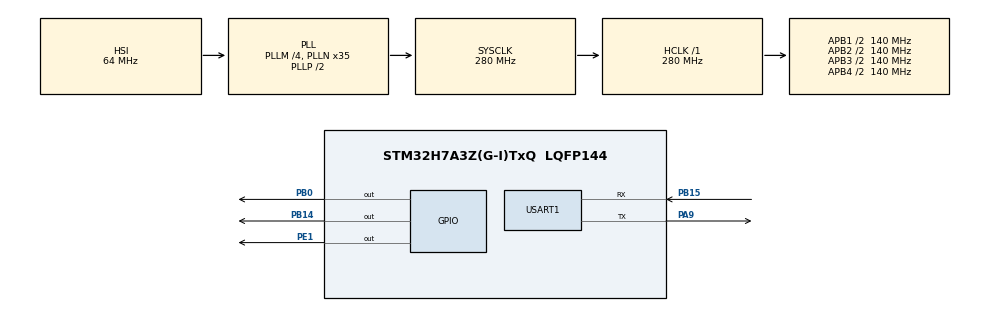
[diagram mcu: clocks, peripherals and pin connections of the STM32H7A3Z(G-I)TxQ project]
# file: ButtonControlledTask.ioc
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CORTEX_M7.default_mode_Activation=1
FREERTOS.Tasks01=defaultTask,0,128,StartDefaultTask,Default,NULL,Dynamic,NULL,NULL
Mcu.Family=STM32H7
Mcu.Name=STM32H7A3Z(G-I)TxQ
Mcu.Package=LQFP144
NUCLEO-H7A3ZI-Q.BUTTON=1
NUCLEO-H7A3ZI-Q.LD1=true
NUCLEO-H7A3ZI-Q.LD2=true
NUCLEO-H7A3ZI-Q.LD3=true
NUCLEO-H7A3ZI-Q.VCP=true
NVIC.EXTI15_10_IRQn=true\:5\:0\:false\:false\:true\:true\:false\:true\:true
NVIC.PriorityGroup=NVIC_PRIORITYGROUP_4
NVIC.TIM1_UP_IRQn=true\:15\:0\:false\:false\:true\:false\:false\:true\:true
NVIC.TimeBase=TIM1_UP_IRQn
NVIC.TimeBaseIP=TIM1
PA9.GPIO_Speed=GPIO_SPEED_FREQ_VERY_HIGH
PA9.Mode=Asynchronous
PA9.Signal=USART1_TX
PB0.Signal=GPIO_Output
PB14.Signal=GPIO_Output
PB15.GPIO_Speed=GPIO_SPEED_FREQ_VERY_HIGH
PB15.Mode=Asynchronous
PB15.Signal=USART1_RX
PC14-OSC32_IN.GPIO_Label=OSC32_IN
PC14-OSC32_IN.Signal=RCC_OSC32_IN
PC15-OSC32_OUT.GPIO_Label=OSC32_OUT
PC15-OSC32_OUT.Signal=RCC_OSC32_OUT
PD8.Signal=USART3_TX
PD9.Signal=USART3_RX
PE1.Signal=GPIO_Output
PH0-OSC_IN.GPIO_Label=PH0-MCU
PH0-OSC_IN.Signal=RCC_OSC_IN
PH1-OSC_OUT.GPIO_Label=PH1-MCU
PH1-OSC_OUT.Signal=RCC_OSC_OUT
ProjectManager.HeapSize=0x200
ProjectManager.StackSize=0x400
ProjectManager.TargetToolchain=Makefile
RCC.ADCFreq_Value=129000000
RCC.APB1Freq_Value=140000000
RCC.APB2Freq_Value=140000000
RCC.APB3Freq_Value=140000000
RCC.APB4Freq_Value=140000000
RCC.CDPPRE=RCC_APB3_DIV2
RCC.CDPPRE1=RCC_APB1_DIV2
RCC.CDPPRE2=RCC_APB2_DIV2
RCC.CortexFreq_Value=280000000
RCC.DIVM1=4
RCC.DIVM3=1
RCC.DIVN1=35
RCC.DIVN3=24
RCC.DIVQ1=4
RCC.HCLKFreq_Value=280000000
RCC.HSE_VALUE=8000000
RCC.PLLFRACN=0
RCC.SRDPPRE=RCC_APB4_DIV2
RCC.SYSCLKFreq_VALUE=280000000
RCC.SYSCLKSource=RCC_SYSCLKSOURCE_PLLCLK
RCC.SupplySource=PWR_DIRECT_SMPS_SUPPLY
RCC.USBCLockSelection=RCC_USBCLKSOURCE_HSI48
RCC.USBFreq_Value=48000000
USART1.VirtualMode-Asynchronous=VM_ASYNC
VP_FREERTOS_VS_CMSIS_V1.Mode=CMSIS_V1
VP_MEMORYMAP_VS_MEMORYMAP.Mode=CurAppReg
VP_NUCLEO-H7A3ZI-Q_VS_BSP_COMMON.Mode=COMMON
VP_SYS_VS_tim1.Mode=TIM1
board=NUCLEO-H7A3ZI-Q

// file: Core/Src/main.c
/* USER CODE BEGIN Header */
/**
  ******************************************************************************
  * @file           : main.c
  * @brief          : Main program body
  ******************************************************************************
  * @attention
  *
  * Copyright (c) 2025 STMicroelectronics.
  * All rights reserved.
  *
  * This software is licensed under terms that can be found in the LICENSE file
  * in the root directory of this software component.
  * If no LICENSE file comes with this software, it is provided AS-IS.
  *
  ******************************************************************************
  */
/* USER CODE END Header */
#include "main.h"
#include "cmsis_os.h"
#include "freertos_task_handles.h"
#include "portmacro.h"
#include "projdefs.h"
#include "stm32h7xx_nucleo.h"
#include "usart.h"
#include "gpio.h"

/* USER CODE BEGIN Includes */
#include "elicode.h"
/* USER CODE END Includes */

COM_InitTypeDef BspCOMInit;

void SystemClock_Config(void);
static void MPU_Config(void);
void MX_FREERTOS_Init(void);

/* USER CODE BEGIN 0 */
void BSP_PB_Callback(Button_TypeDef Button) {
  // if priority of handling task is higher than the priority of the currently
  // running task, then this will get set to pdTRUE
  BaseType_t xHigherPriorityTaskWoken = pdFALSE;
  vTaskNotifyGiveFromISR(Task2Handle, &xHigherPriorityTaskWoken);
  portYIELD_FROM_ISR(xHigherPriorityTaskWoken);
}

/* USER CODE END 0 */

int main(void)
{

  /* MPU Configuration--------------------------------------------------------*/
  MPU_Config();

  /* MCU Configuration--------------------------------------------------------*/

  /* Reset of all peripherals, Initializes the Flash interface and the Systick. */
  HAL_Init();

  /* Configure the system clock */
  SystemClock_Config();

  /* Initialize all configured peripherals */
  MX_GPIO_Init();
  MX_USART1_UART_Init();
  /* USER CODE BEGIN 2 */

  myprintf("Starting FreeRTOS Program...\r\n");
  /* USER CODE END 2 */

  /* Call init function for freertos objects (in cmsis_os2.c) */
  MX_FREERTOS_Init();

  /* Initialize leds */
  BSP_LED_Init(LED_GREEN);
  BSP_LED_Init(LED_YELLOW);
  BSP_LED_Init(LED_RED);

  /* Initialize USER push-button, will be used to trigger an interrupt each time it's pressed.*/
  BSP_PB_Init(BUTTON_USER, BUTTON_MODE_EXTI);

  /* Initialize COM1 port (115200, 8 bits (7-bit data + 1 stop bit), no parity */
  BspCOMInit.BaudRate   = 115200;
  BspCOMInit.WordLength = COM_WORDLENGTH_8B;
  BspCOMInit.StopBits   = COM_STOPBITS_1;
  BspCOMInit.Parity     = COM_PARITY_NONE;
  BspCOMInit.HwFlowCtl  = COM_HWCONTROL_NONE;
  if (BSP_COM_Init(COM1, &BspCOMInit) != BSP_ERROR_NONE)
  {
    Error_Handler();
  }

  /* Start scheduler */
  osKernelStart();

  /* We should never get here as control is now taken by the scheduler */

  /* Infinite loop */
  while (1)
  {

  }
}

void SystemClock_Config(void)
{
  RCC_OscInitTypeDef RCC_OscInitStruct = {0};
  RCC_ClkInitTypeDef RCC_ClkInitStruct = {0};

  /*AXI clock gating */
  RCC->CKGAENR = 0xE003FFFF;

  /** Supply configuration update enable
  */
  HAL_PWREx_ConfigSupply(PWR_DIRECT_SMPS_SUPPLY);

  /** Configure the main internal regulator output voltage
  */
  __HAL_PWR_VOLTAGESCALING_CONFIG(PWR_REGULATOR_VOLTAGE_SCALE0);

  while(!__HAL_PWR_GET_FLAG(PWR_FLAG_VOSRDY)) {}

  /** Initializes the RCC Oscillators according to the specified parameters
  * in the RCC_OscInitTypeDef structure.
  */
  RCC_OscInitStruct.OscillatorType = RCC_OSCILLATORTYPE_HSI;
  RCC_OscInitStruct.HSIState = RCC_HSI_DIV1;
  RCC_OscInitStruct.HSICalibrationValue = 64;
  RCC_OscInitStruct.PLL.PLLState = RCC_PLL_ON;
  RCC_OscInitStruct.PLL.PLLSource = RCC_PLLSOURCE_HSI;
  RCC_OscInitStruct.PLL.PLLM = 4;
  RCC_OscInitStruct.PLL.PLLN = 35;
  RCC_OscInitStruct.PLL.PLLP = 2;
  RCC_OscInitStruct.PLL.PLLQ = 4;
  RCC_OscInitStruct.PLL.PLLR = 2;
  RCC_OscInitStruct.PLL.PLLRGE = RCC_PLL1VCIRANGE_3;
  RCC_OscInitStruct.PLL.PLLVCOSEL = RCC_PLL1VCOWIDE;
  RCC_OscInitStruct.PLL.PLLFRACN = 0;
  if (HAL_RCC_OscConfig(&RCC_OscInitStruct) != HAL_OK)
  {
    Error_Handler();
  }

  /** Initializes the CPU, AHB and APB buses clocks
  */
  RCC_ClkInitStruct.ClockType = RCC_CLOCKTYPE_HCLK|RCC_CLOCKTYPE_SYSCLK
                              |RCC_CLOCKTYPE_PCLK1|RCC_CLOCKTYPE_PCLK2
                              |RCC_CLOCKTYPE_D3PCLK1|RCC_CLOCKTYPE_D1PCLK1;
  RCC_ClkInitStruct.SYSCLKSource = RCC_SYSCLKSOURCE_PLLCLK;
  RCC_ClkInitStruct.SYSCLKDivider = RCC_SYSCLK_DIV1;
  RCC_ClkInitStruct.AHBCLKDivider = RCC_HCLK_DIV1;
  RCC_ClkInitStruct.APB3CLKDivider = RCC_APB3_DIV2;
  RCC_ClkInitStruct.APB1CLKDivider = RCC_APB1_DIV2;
  RCC_ClkInitStruct.APB2CLKDivider = RCC_APB2_DIV2;
  RCC_ClkInitStruct.APB4CLKDivider = RCC_APB4_DIV2;

  if (HAL_RCC_ClockConfig(&RCC_ClkInitStruct, FLASH_LATENCY_6) != HAL_OK)
  {
    Error_Handler();
  }
}

 /* MPU Configuration */

void MPU_Config(void)
{
  MPU_Region_InitTypeDef MPU_InitStruct = {0};

  /* Disables the MPU */
  HAL_MPU_Disable();

  /** Initializes and configures the Region and the memory to be protected
  */
  MPU_InitStruct.Enable = MPU_REGION_ENABLE;
  MPU_InitStruct.Number = MPU_REGION_NUMBER0;
  MPU_InitStruct.BaseAddress = 0x0;
  MPU_InitStruct.Size = MPU_REGION_SIZE_4GB;
  MPU_InitStruct.SubRegionDisable = 0x87;
  MPU_InitStruct.TypeExtField = MPU_TEX_LEVEL0;
  MPU_InitStruct.AccessPermission = MPU_REGION_NO_ACCESS;
  MPU_InitStruct.DisableExec = MPU_INSTRUCTION_ACCESS_DISABLE;
  MPU_InitStruct.IsShareable = MPU_ACCESS_SHAREABLE;
  MPU_InitStruct.IsCacheable = MPU_ACCESS_NOT_CACHEABLE;
  MPU_InitStruct.IsBufferable = MPU_ACCESS_NOT_BUFFERABLE;

  HAL_MPU_ConfigRegion(&MPU_InitStruct);
  /* Enables the MPU */
  HAL_MPU_Enable(MPU_PRIVILEGED_DEFAULT);

}

void HAL_TIM_PeriodElapsedCallback(TIM_HandleTypeDef *htim)
{
  if (htim->Instance == TIM1)
  {
    HAL_IncTick();
  }
}

void Error_Handler(void)
{
  __disable_irq();
  while (1)
  {
  }
}

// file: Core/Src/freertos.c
/* USER CODE BEGIN Header */
/**
  ******************************************************************************
  * File Name          : freertos.c
  * Description        : Code for freertos applications
  ******************************************************************************
  * @attention
  *
  * Copyright (c) 2025 STMicroelectronics.
  * All rights reserved.
  *
  * This software is licensed under terms that can be found in the LICENSE file
  * in the root directory of this software component.
  * If no LICENSE file comes with this software, it is provided AS-IS.
  *
  ******************************************************************************
  */
/* USER CODE END Header */

#include "FreeRTOS.h"
#include "freertos_task_handles.h"
#include "portmacro.h"
#include "projdefs.h"
#include "task.h"
#include "main.h"
#include "cmsis_os.h"

/* USER CODE BEGIN Includes */
#include "elicode.h"
/* USER CODE END Includes */

/* USER CODE BEGIN Variables */
osThreadId Task2Handle =  NULL;

/* USER CODE END Variables */
osThreadId defaultTaskHandle;

/* USER CODE BEGIN FunctionPrototypes */
void task2_init(void const * argument);

/* USER CODE END FunctionPrototypes */

void StartDefaultTask(void const * argument);

void MX_FREERTOS_Init(void); /* (MISRA C 2004 rule 8.1) */

/* GetIdleTaskMemory prototype (linked to static allocation support) */
void vApplicationGetIdleTaskMemory( StaticTask_t **ppxIdleTaskTCBBuffer, StackType_t **ppxIdleTaskStackBuffer, uint32_t *pulIdleTaskStackSize );

/* USER CODE BEGIN GET_IDLE_TASK_MEMORY */
static StaticTask_t xIdleTaskTCBBuffer;
static StackType_t xIdleStack[configMINIMAL_STACK_SIZE];

void vApplicationGetIdleTaskMemory( StaticTask_t **ppxIdleTaskTCBBuffer, StackType_t **ppxIdleTaskStackBuffer, uint32_t *pulIdleTaskStackSize )
{
  *ppxIdleTaskTCBBuffer = &xIdleTaskTCBBuffer;
  *ppxIdleTaskStackBuffer = &xIdleStack[0];
  *pulIdleTaskStackSize = configMINIMAL_STACK_SIZE;
  /* place for user code */
}
/* USER CODE END GET_IDLE_TASK_MEMORY */

void MX_FREERTOS_Init(void) {

  /* Create the thread(s) */
  /* definition and creation of defaultTask */
  osThreadDef(defaultTask, StartDefaultTask, osPriorityNormal, 0, 128);
  defaultTaskHandle = osThreadCreate(osThread(defaultTask), NULL);

  /* USER CODE BEGIN RTOS_THREADS */
  /* add threads, ... */
  osThreadDef(Task2, task2_init, osPriorityNormal, 0, 128);
  Task2Handle = osThreadCreate(osThread(Task2), NULL);
  /* USER CODE END RTOS_THREADS */

}

void StartDefaultTask(void const * argument)
{
  /* USER CODE BEGIN StartDefaultTask */
  /* Infinite loop */
  for(;;)
  {
    myprintf("Still On\r\n");
    osDelay(5000);
  }
  /* USER CODE END StartDefaultTask */
}

/* USER CODE BEGIN Application */
void task2_init(void const * argument)
{
    for(;;)
    {
        // Task waits for notification
        ulTaskNotifyTake(pdTRUE, portMAX_DELAY);
        // Upon wake it will toggle the led
        myprintf("Task2 has been notified!\r\n");
        BSP_LED_Toggle(LED_YELLOW);
    }
}

/* USER CODE END Application */
